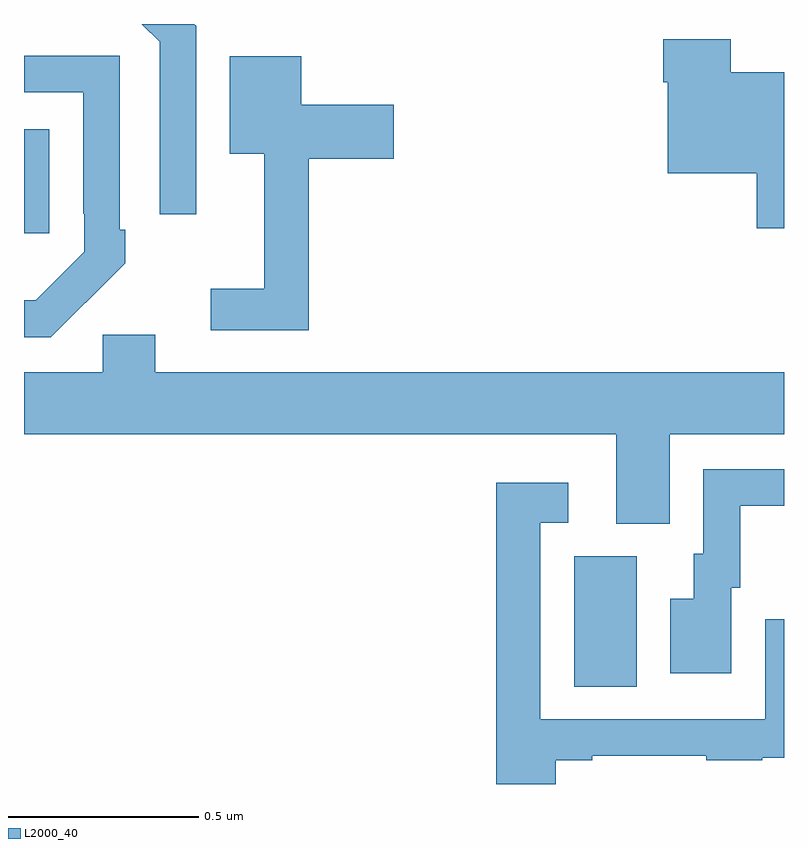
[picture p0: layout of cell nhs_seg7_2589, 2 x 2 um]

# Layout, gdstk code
import gdstk
lib = gdstk.Library(unit=1e-6, precision=1e-09)
def R(c, l, rs):  # rectangles x0, y0, x1, y1
    for r in rs: c.add(gdstk.rectangle(r[:2], r[2:], *l))
def P(c, l, *ps):  # polygons
    for p in ps: c.add(gdstk.Polygon(p, *l))
L2000_40 = (2000, 40)

nhs_seg7_2589 = lib.new_cell('nhs_seg7_2589')
R(nhs_seg7_2589, L2000_40, [(148.448,1029.256,148.612,1029.6), (147,1030.449,147.067,1030.723)])
P(nhs_seg7_2589, L2000_40, [(147.453,1030.995),(147.448,1031),(147.31,1031),(147.357,1030.953),(147.357,1030.5),(147.453,1030.5)],
  [(149,1030.873),(148.86,1030.873),(148.86,1030.96),(148.682,1030.96),(148.682,1030.847),(148.694,1030.847),(148.694,1030.607),(148.928,1030.607),(148.928,1030.463),(149,1030.463)],
  [(147.161,1030.267),(147.162,1030.266),(147.267,1030.371),(147.267,1030.459),(147.252,1030.459),(147.252,1030.917),(147,1030.917),(147,1030.821),(147.156,1030.821),(147.156,1030.501),(147.159,1030.501),(147.159,1030.401),(147.031,1030.273),(147,1030.273),(147,1030.176),(147.07,1030.176)],
  [(147.749,1030.646),(147.973,1030.646),(147.973,1030.788),(147.73,1030.788),(147.73,1030.915),(147.542,1030.915),(147.542,1030.658),(147.632,1030.658),(147.632,1030.303),(147.492,1030.303),(147.492,1030.194),(147.749,1030.194)],
  [(148.699,1029.92),(149,1029.92),(149,1030.084),(147.346,1030.084),(147.346,1030.182),(147.207,1030.182),(147.207,1030.084),(147,1030.084),(147,1029.92),(148.559,1029.92),(148.559,1029.685),(148.699,1029.685)],
  [(148.861,1029.516),(148.885,1029.516),(148.885,1029.732),(149,1029.732),(149,1029.828),(148.788,1029.828),(148.788,1029.606),(148.763,1029.606),(148.763,1029.487),(148.7,1029.487),(148.7,1029.291),(148.861,1029.291)],
  [(148.399,1029.063),(148.495,1029.063),(148.495,1029.075),(148.795,1029.075),(148.795,1029.063),(148.943,1029.063),(148.943,1029.069),(149,1029.069),(149,1029.433),(148.95,1029.433),(148.95,1029.171),(148.359,1029.171),(148.359,1029.687),(148.432,1029.687),(148.432,1029.793),(148.243,1029.793),(148.243,1029),(148.399,1029)])

lib.write_gds('nhs_seg7_2589.gds')
